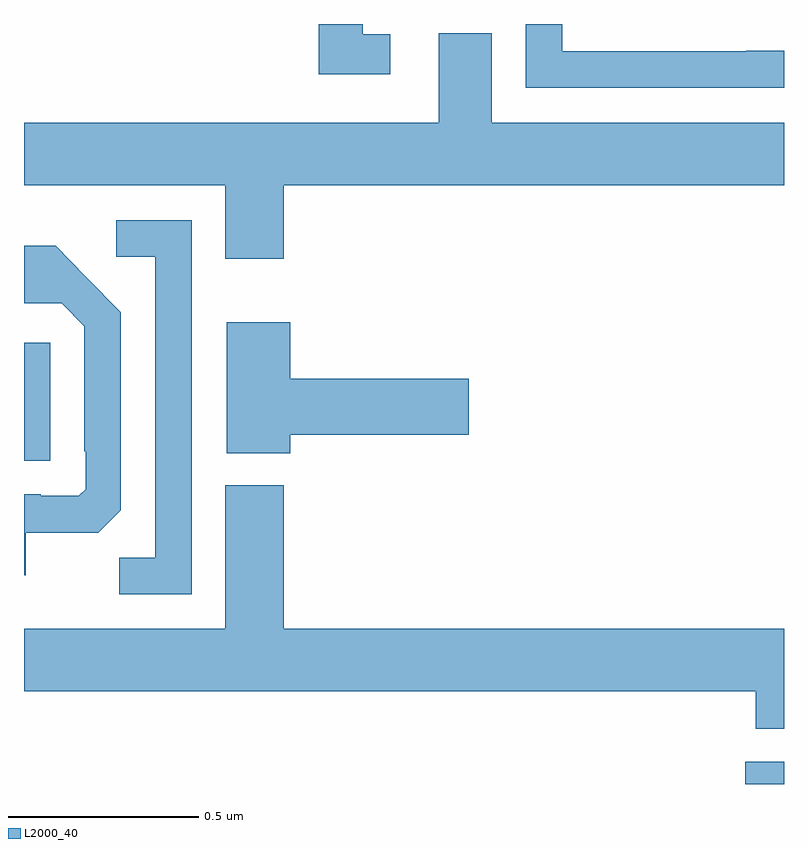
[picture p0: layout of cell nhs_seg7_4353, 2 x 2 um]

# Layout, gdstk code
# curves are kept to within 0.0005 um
import gdstk
lib = gdstk.Library(unit=1e-6, precision=1e-09)
def R(c, l, rs):  # rectangles x0, y0, x1, y1
    for r in rs: c.add(gdstk.rectangle(r[:2], r[2:], *l))
def P(c, l, *ps):  # polygons
    for p in ps: c.add(gdstk.Polygon(p, *l))
L2000_40 = (2000, 40)

nhs_seg7_4353 = lib.new_cell('nhs_seg7_4353')
R(nhs_seg7_4353, L2000_40, [(172.898,1039,173,1039.058), (171,1039.851,171.069,1040.161)])
P(nhs_seg7_4353, L2000_40, [(171.964,1040.973),(171.891,1040.973),(171.891,1041),(171.775,1041),(171.775,1040.868),(171.964,1040.868)],
  [(173,1040.929),(172.901,1040.929),(172.901,1040.928),(172.417,1040.928),(172.417,1041),(172.32,1041),(172.32,1040.832),(173,1040.832)],
  [(171.683,1040.576),(173,1040.576),(173,1040.74),(172.231,1040.74),(172.231,1040.976),(172.091,1040.976),(172.091,1040.74),(171,1040.74),(171,1040.576),(171.53,1040.576),(171.53,1040.382),(171.683,1040.382)],
  [(171.441,1040.484),(171.243,1040.484),(171.243,1040.388),(171.345,1040.388),(171.345,1039.595),(171.25,1039.595),(171.25,1039.5),(171.441,1039.5)],
  [(171.004,1039.661),(171.196,1039.661),(171.255,1039.72),(171.255,1040.242),(171.083,1040.416),(171,1040.416),(171,1040.265),(171.099,1040.265),(171.159,1040.205),(171.159,1039.876),(171.162,1039.876),(171.162,1039.776),(171.144,1039.758),(171.044,1039.758),(171.044,1039.762),(171,1039.762),(171,1039.55),(171.004,1039.55)],
  [(171.7,1039.919),(172.171,1039.919),(172.171,1040.066),(171.7,1040.066),(171.7,1040.215),(171.533,1040.215),(171.533,1039.871),(171.7,1039.871)],
  [(173,1039.408),(171.683,1039.408),(171.683,1039.786),(171.53,1039.786),(171.53,1039.408),(171,1039.408),(171,1039.244),(172.925,1039.244),(172.925,1039.145),(173,1039.145)])

lib.write_gds('nhs_seg7_4353.gds')
